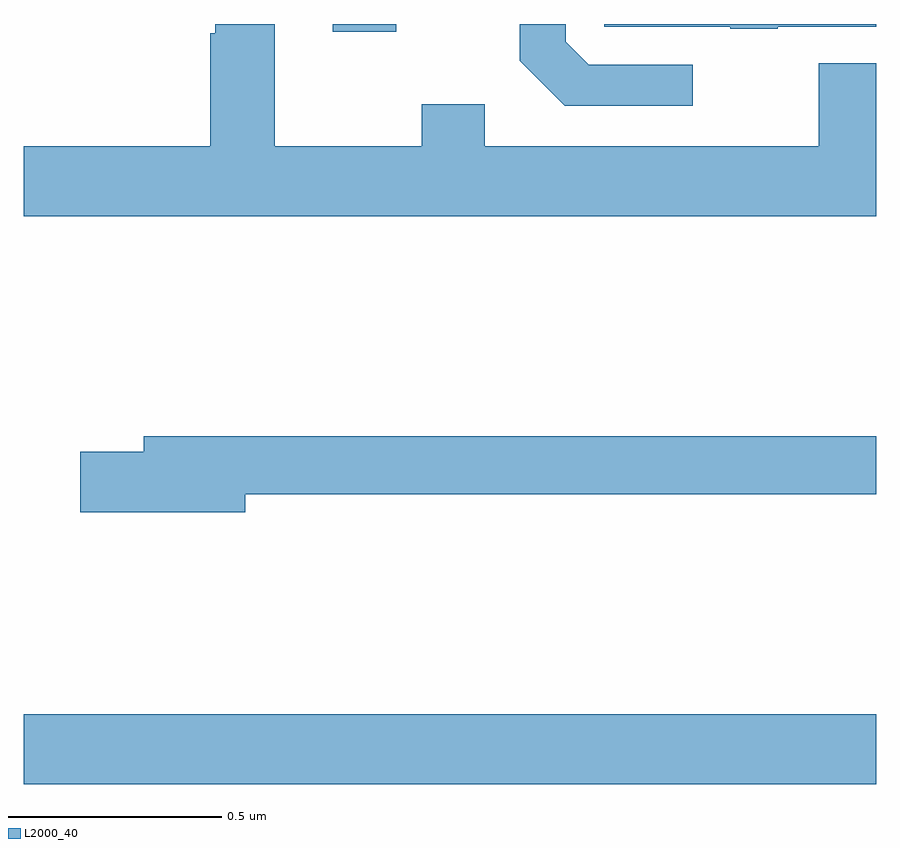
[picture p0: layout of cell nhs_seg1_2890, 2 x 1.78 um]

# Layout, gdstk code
import gdstk
lib = gdstk.Library(unit=1e-6, precision=1e-09)
def R(c, l, rs):  # rectangles x0, y0, x1, y1
    for r in rs: c.add(gdstk.rectangle(r[:2], r[2:], *l))
def P(c, l, *ps):  # polygons
    for p in ps: c.add(gdstk.Polygon(p, *l))
L2000_40 = (2000, 40)

nhs_seg1_2890 = lib.new_cell('nhs_seg1_2890')
R(nhs_seg1_2890, L2000_40, [(147,534.416,149,534.58), (147.725,536.181,147.874,536.199)])
P(nhs_seg1_2890, L2000_40, [(149,536.107),(148.865,536.107),(148.865,535.912),(148.081,535.912),(148.081,536.011),(147.934,536.011),(147.934,535.912),(147.589,535.912),(147.589,536.199),(147.449,536.199),(147.449,536.177),(147.437,536.177),(147.437,535.912),(147,535.912),(147,535.748),(149,535.748)],
  [(148.769,536.193),(149,536.193),(149,536.199),(148.362,536.199),(148.362,536.193),(148.657,536.193),(148.657,536.188),(148.769,536.188)],
  [(148.57,536.103),(148.326,536.103),(148.272,536.157),(148.272,536.199),(148.164,536.199),(148.164,536.113),(148.269,536.007),(148.57,536.007)],
  [(147.52,535.096),(149,535.096),(149,535.232),(147.281,535.232),(147.281,535.196),(147.132,535.196),(147.132,535.054),(147.52,535.054)])

lib.write_gds('nhs_seg1_2890.gds')
